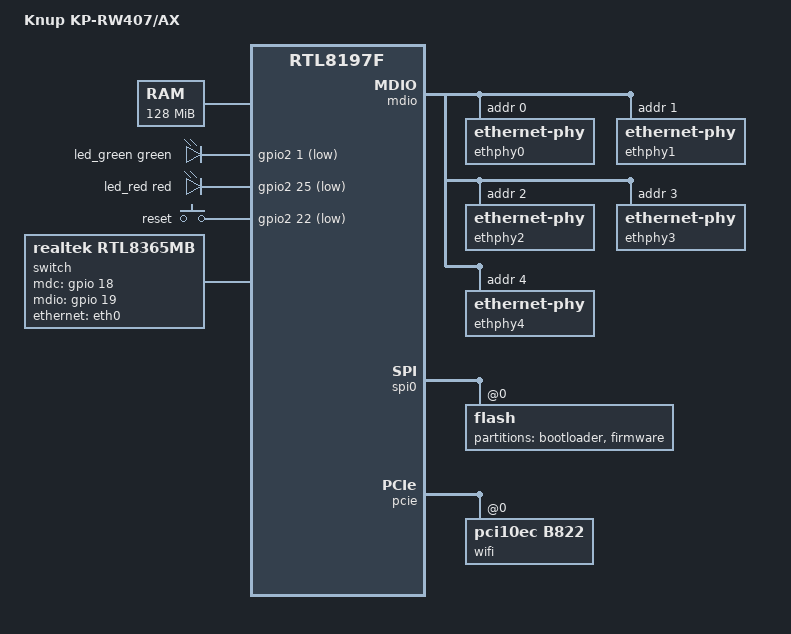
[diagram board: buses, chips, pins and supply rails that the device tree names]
// SPDX-License-Identifier: GPL-2.0-only OR MIT

/dts-v1/;

#include "rtl8197f.dtsi"
#include <dt-bindings/gpio/gpio.h>
#include <dt-bindings/input/linux-event-codes.h>
#include <dt-bindings/leds/common.h>

/ {
	model = "Knup KP-RW407/AX";
	compatible = "knup,rw407", "realtek,rtl8197f";

	memory@0 {
		device_type = "memory";
		/* 128 MB DDR2-533, reported by the stock boot log. */
		reg = <0x00000000 0x08000000>;
	};

	/*
	 * SoC GPIO, ports A-D (PABCD) and E-H (PEFGH) of the RTL8197F GPIO
	 * block at 0x18003500.  Per bank: CNR (+0x00/+0x1c, 0 = GPIO function),
	 * DIR (+0x08/+0x24, 1 = output), DAT (+0x0c/+0x28).  gpio N is bit N
	 * for PABCD and bit N-32 for PEFGH.
	 *
	 * Generic memory-mapped GPIO (bcm6345 flavour) suffices: the bootloader
	 * already muxes the two SMI pins (18/19) and the two status LEDs (33/57)
	 * to GPIO.  Buttons and LEDs are polled because the ictl peripheral
	 * cascade is not wired up yet, so no GPIO IRQ is available.
	 */
	gpio: gpio@1800350c {
		compatible = "brcm,bcm6345-gpio";
		reg = <0x1800350c 0x4>, <0x18003508 0x4>;
		reg-names = "dat", "dirout";
		gpio-controller;
		#gpio-cells = <2>;
		ngpios = <32>;
	};

	gpio2: gpio@18003524 {
		compatible = "brcm,bcm6345-gpio";
		reg = <0x18003528 0x4>, <0x18003524 0x4>;
		reg-names = "dat", "dirout";
		gpio-controller;
		#gpio-cells = <2>;
		ngpios = <32>;
	};

	/*
	 * Front-panel bi-colour LED: gpio33 low = green, gpio57 low = red.
	 * Both channels on gives the "white" appearance observed on stock.
	 * gpio35/36/38 were probed and drive nothing on this board.
	 */
	leds {
		compatible = "gpio-leds";

		led_green: led-green {
			gpios = <&gpio2 1 GPIO_ACTIVE_LOW>;
			function = LED_FUNCTION_STATUS;
			color = <LED_COLOR_ID_GREEN>;
			default-state = "on";
		};

		led_red: led-red {
			gpios = <&gpio2 25 GPIO_ACTIVE_LOW>;
			function = LED_FUNCTION_STATUS;
			color = <LED_COLOR_ID_RED>;
			default-state = "off";
		};
	};

	/*
	 * Reset button on gpio54 (PEFGH bit 22), active low.  gpio-keys-polled
	 * is required because the SoC GPIO controller has no IRQ wired yet.
	 */
	keys {
		compatible = "gpio-keys-polled";
		poll-interval = <100>;
		#address-cells = <1>;
		#size-cells = <0>;

		reset {
			label = "reset";
			reg = <0>;
			gpios = <&gpio2 22 GPIO_ACTIVE_LOW>;
			linux,code = <KEY_RESTART>;
			debounce-interval = <50>;
		};
	};

	/*
	 * External Realtek RTL8367RB-VB (chip id 0x6367, ver 0x0020) carrying all
	 * physical LAN/WAN ports. Managed over the bit-banged SMI (mdc = gpio 18,
	 * mdio = gpio 19); mainline rtl8365mb recognises this chip and does the
	 * full init (jam table, extint RGMII with delay, CPU port, VLAN).
	 * Port map from the stock configuration: WAN = PHY 0, LAN1-4 = PHY 1-4;
	 * the SoC MAC reaches the switch over extension interface 1.
	 */
	switch {
		compatible = "realtek,rtl8365mb";
		mdc-gpios = <&gpio 18 GPIO_ACTIVE_HIGH>;
		mdio-gpios = <&gpio 19 GPIO_ACTIVE_HIGH>;

		ethernet-ports {
			#address-cells = <1>;
			#size-cells = <0>;

			ethernet-port@0 {
				reg = <0>;
				label = "wan";
				phy-handle = <&ethphy0>;
			};
			ethernet-port@1 {
				reg = <1>;
				label = "lan4";
				phy-handle = <&ethphy1>;
			};
			ethernet-port@2 {
				reg = <2>;
				label = "lan3";
				phy-handle = <&ethphy2>;
			};
			ethernet-port@3 {
				reg = <3>;
				label = "lan2";
				phy-handle = <&ethphy3>;
			};
			ethernet-port@4 {
				reg = <4>;
				label = "lan1";
				phy-handle = <&ethphy4>;
			};
			ethernet-port@6 {
				reg = <6>;
				ethernet = <&eth0>;
				phy-mode = "rgmii";
				rx-internal-delay-ps = <1500>;
				fixed-link {
					speed = <1000>;
					full-duplex;
				};
			};
		};

		mdio {
			compatible = "realtek,smi-mdio";
			#address-cells = <1>;
			#size-cells = <0>;

			ethphy0: ethernet-phy@0 {
				reg = <0>;
			};
			ethphy1: ethernet-phy@1 {
				reg = <1>;
			};
			ethphy2: ethernet-phy@2 {
				reg = <2>;
			};
			ethphy3: ethernet-phy@3 {
				reg = <3>;
			};
			ethphy4: ethernet-phy@4 {
				reg = <4>;
			};
		};
	};
};

&{/chosen} {
	/*
	 * mtdblock2 = "rootfs": the fixed partition table below puts bootloader at
	 * 0, kernel at 1 and rootfs at 2.
	 */
	bootargs = "earlycon console=ttyS0,38400 root=/dev/mtdblock2 rootfstype=squashfs rootwait";
};

&spi0 {
	status = "okay";

	flash@0 {
		partitions {
			compatible = "fixed-partitions";
			#address-cells = <1>;
			#size-cells = <1>;

			/*
			 * 0x0-0x20000 stage-1 bootcode, 0x20000-0x30000 factory
			 * calibration block with the two apmib config sectors at
			 * 0x24000 (defaults) and 0x2a000 (current). Never write
			 * this region.
			 */
			partition@0 {
				label = "bootloader";
				reg = <0x00000000 0x00030000>;
				read-only;

				nvmem-layout {
					compatible = "fixed-layout";
					#address-cells = <1>;
					#size-cells = <1>;

					macaddr_lan: mac-address@20007 {
						reg = <0x00020007 0x6>;
					};

					macaddr_wan: mac-address@2000d {
						reg = <0x0002000d 0x6>;
					};

					/*
					 * 1600-byte vendor WLAN calibration block:
					 * MAC at +0, XTAL at +149, thermal at +152,
					 * per-channel 5 GHz power indices after that.
					 * rtw88 patch 900 turns it into EFUSE data
					 * (and forces RFE option 1).
					 */
					rtl8822b_calibration: calibration@20013 {
						reg = <0x00020013 0x640>;
					};

					macaddr_wifi24: mac-address@209d6 {
						reg = <0x000209d6 0x6>;
					};
				};
			};

			/*
			 * Single firmware partition.  The container starts with a
			 * cvimg loader, keeps the real rootfs at 0x230000 (flash
			 * 0x260000) because the stock stage-2 checks it there, and
			 * stores the kernel around it.  mtdsplit_rw407 creates
			 * "rootfs0" and "rootfs_data".
			 */
			partition@30000 {
				label = "firmware";
				reg = <0x00030000 0x007d0000>;
				compatible = "knup,rw407-firmware";
			};
		};
	};
};

&eth0 {
	nvmem-cells = <&macaddr_lan>;
	nvmem-cell-names = "mac-address";
};

&wifi2g {
	/* Vendor rtl8192cd driver not ported yet. */
	status = "disabled";
};

&pcie {
	pcie@0,0 {
		reg = <0x0000 0 0 0 0>;
		#address-cells = <3>;
		#size-cells = <2>;
		ranges;

		/*
		 * RTL8812BRH: RTL8822B/JGR3 silicon, driven by mainline rtw88.
		 * The efuse is populated (per-channel TX power for both paths), so
		 * no vendor calibration blob is wired in.
		 */
		wifi@0,0 {
			compatible = "pci10ec,b822";
			reg = <0x0000 0 0 0 0>;
			ieee80211-freq-limit = <5000000 6000000>;
			nvmem-cells = <&rtl8822b_calibration>;
			nvmem-cell-names = "rtl8197f-calibration";
		};
	};
};
